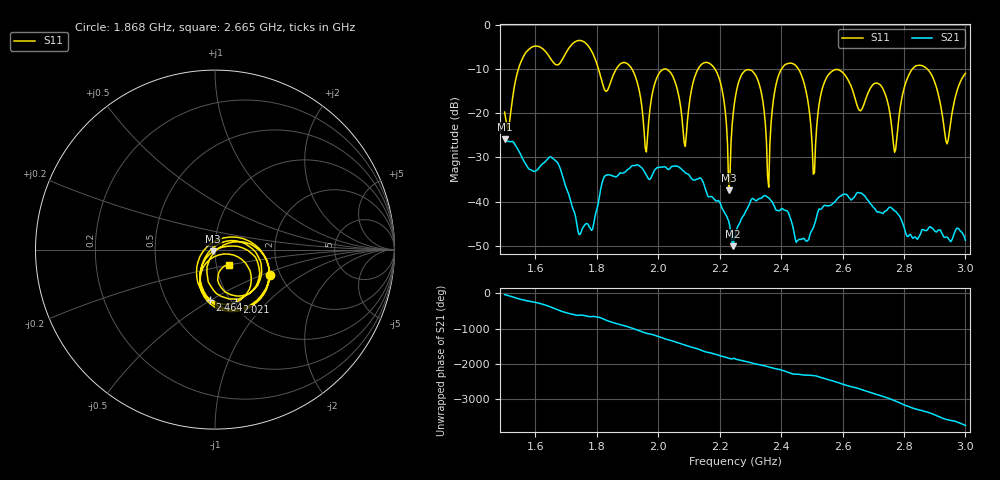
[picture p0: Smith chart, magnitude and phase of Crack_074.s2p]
# HZ S RI R 50
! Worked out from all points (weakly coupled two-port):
!   404 points, 1.5 GHz to 3 GHz, reference 50 ohm
!   highest |S21| = -25.89 dB at 1.5 GHz (marker M1); lowest = -50.0 dB at 2.244 GHz (marker M2)
!   lowest |S11| = -37.5 dB at 2.23 GHz (marker M3), VSWR 1.03, Z = 49 - j0.903 ohm
!   |S11| at or under -10 dB: 1.914 GHz to 2.13 GHz (215.8 MHz wide, 10.7 % of centre); 2.184 GHz to 2.402 GHz (217.2 MHz wide, 9.47 % of centre); 2.456 GHz to 2.828 GHz (371.8 MHz wide, 14.1 % of centre) (the widest 3 of 6)
!   S12 and S22 are empty: the file has one direction only
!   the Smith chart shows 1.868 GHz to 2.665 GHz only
!   S11 on the Smith chart (normalised r, x): 1.868 GHz: 1.76, -0.56; 2.021 GHz: 1.04, -0.68; 2.464 GHz: 0.81, -0.49; 2.665 GHz: 1.15, -0.20
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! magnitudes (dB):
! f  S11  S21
! 1.5 GHz  -19.7  -25.9
! 1.753 GHz  -3.7  -46.0
! 1.868 GHz  -9.5  -34.1
! 1.962 GHz  -28.8  -34.0
! 2.002 GHz  -11.0  -32.2
! 2.021 GHz  -10.0  -32.1
! 2.088 GHz  -27.5  -33.4
! 2.181 GHz  -9.7  -39.4
! 2.23 GHz  -37.5  -44.4
! 2.244 GHz  -19.9  -50.0
! 2.252 GHz  -16.1  -47.2
! 2.315 GHz  -11.2  -39.6
! 2.36 GHz  -36.7  -39.1
! 2.393 GHz  -11.2  -42.1
! 2.464 GHz  -11.0  -48.5
! 2.501 GHz  -27.3  -46.3
! 2.565 GHz  -10.6  -40.6
! 2.665 GHz  -18.8  -38.2
! 2.751 GHz  -18.6  -41.3
! 2.866 GHz  -9.5  -46.4
! 2.94 GHz  -26.9  -48.0
! 3 GHz  -11.0  -48.7
